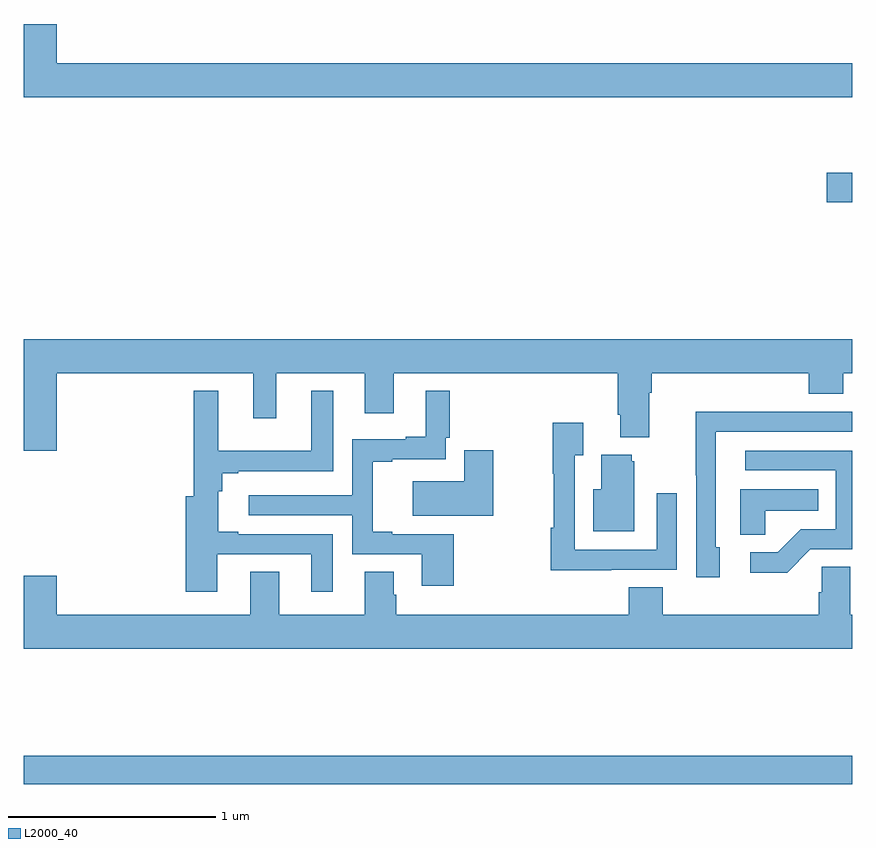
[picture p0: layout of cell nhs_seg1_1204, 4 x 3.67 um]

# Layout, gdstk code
import gdstk
lib = gdstk.Library(unit=1e-6, precision=1e-09)
def R(c, l, rs):  # rectangles x0, y0, x1, y1
    for r in rs: c.add(gdstk.rectangle(r[:2], r[2:], *l))
def P(c, l, *ps):  # polygons
    for p in ps: c.add(gdstk.Polygon(p, *l))
L2000_40 = (2000, 40)

nhs_seg1_1204 = lib.new_cell('nhs_seg1_1204')
R(nhs_seg1_1204, L2000_40, [(177,504.46,181,504.596), (180.876,507.269,181,507.411)])
P(nhs_seg1_1204, L2000_40, [(181,507.94),(177.16,507.94),(177.16,508.129),(177,508.129),(177,507.776),(181,507.776)],
  [(177.16,506.444),(178.109,506.444),(178.109,506.226),(178.219,506.226),(178.219,506.444),(178.646,506.444),(178.646,506.25),(178.786,506.25),(178.786,506.444),(179.867,506.444),(179.867,506.242),(179.879,506.242),(179.879,506.135),(180.019,506.135),(180.019,506.348),(180.032,506.348),(180.032,506.444),(180.791,506.444),(180.791,506.345),(180.956,506.345),(180.956,506.444),(181,506.444),(181,506.608),(177,506.608),(177,506.07),(177.16,506.07)],
  [(179.075,505.665),(178.78,505.665),(178.78,505.678),(178.685,505.678),(178.685,506.016),(178.78,506.016),(178.78,506.028),(179.037,506.028),(179.037,506.131),(179.057,506.131),(179.057,506.359),(178.94,506.359),(178.94,506.137),(178.844,506.137),(178.844,506.124),(178.587,506.124),(178.587,505.854),(178.086,505.854),(178.086,505.758),(178.587,505.758),(178.587,505.569),(178.922,505.569),(178.922,505.416),(179.075,505.416)],
  [(177.934,505.569),(178.388,505.569),(178.388,505.389),(178.492,505.389),(178.492,505.665),(178.036,505.665),(178.036,505.678),(177.94,505.678),(177.94,505.874),(177.958,505.874),(177.958,505.959),(178.036,505.959),(178.036,505.971),(178.495,505.971),(178.495,506.359),(178.388,506.359),(178.388,506.068),(177.94,506.068),(177.94,506.359),(177.822,506.359),(177.822,505.849),(177.782,505.849),(177.782,505.389),(177.934,505.389)],
  [(180.361,505.602),(180.342,505.602),(180.342,506.16),(181,506.16),(181,506.256),(180.707,506.256),(180.707,506.258),(180.244,506.258),(180.244,505.951),(180.246,505.951),(180.246,505.458),(180.361,505.458)],
  [(179.837,505.494),(180.153,505.494),(180.153,505.864),(180.057,505.864),(180.057,505.59),(179.661,505.59),(179.661,506.047),(179.701,506.047),(179.701,506.203),(179.553,506.203),(179.553,505.958),(179.56,505.958),(179.56,505.697),(179.545,505.697),(179.545,505.493),(179.837,505.493)],
  [(179.266,506.071),(179.126,506.071),(179.126,505.921),(178.878,505.921),(178.878,505.754),(179.266,505.754)],
  [(180.798,505.593),(181,505.593),(181,506.07),(180.483,506.07),(180.483,505.974),(180.921,505.974),(180.921,505.689),(180.752,505.689),(180.641,505.578),(180.507,505.578),(180.507,505.481),(180.685,505.481)],
  [(179.947,506.019),(179.936,506.019),(179.936,506.05),(179.789,506.05),(179.789,505.882),(179.75,505.882),(179.75,505.679),(179.947,505.679)],
  [(180.579,505.778),(180.836,505.778),(180.836,505.882),(180.458,505.882),(180.458,505.663),(180.579,505.663)],
  [(181,505.276),(180.991,505.276),(180.991,505.508),(180.852,505.508),(180.852,505.385),(180.839,505.385),(180.839,505.276),(180.086,505.276),(180.086,505.409),(179.921,505.409),(179.921,505.276),(178.799,505.276),(178.799,505.374),(178.786,505.374),(178.786,505.484),(178.646,505.484),(178.646,505.276),(178.234,505.276),(178.234,505.484),(178.094,505.484),(178.094,505.276),(177.16,505.276),(177.16,505.465),(177,505.465),(177,505.112),(181,505.112)])

lib.write_gds('nhs_seg1_1204.gds')
